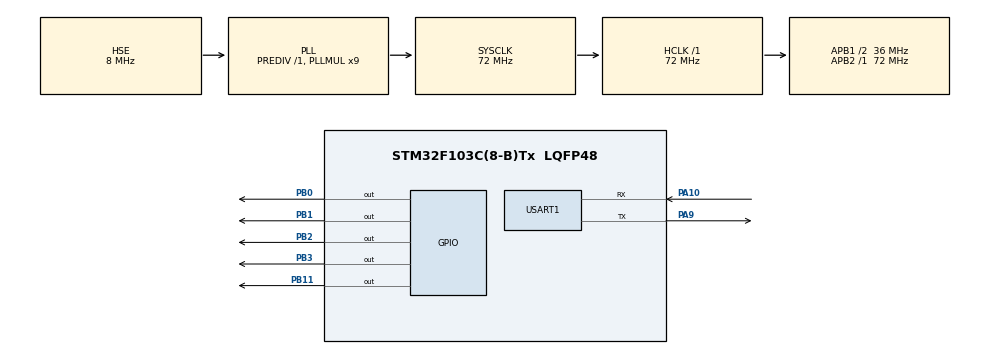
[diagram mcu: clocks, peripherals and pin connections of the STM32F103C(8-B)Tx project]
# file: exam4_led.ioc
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Mcu.Family=STM32F1
Mcu.Name=STM32F103C(8-B)Tx
Mcu.Package=LQFP48
NVIC.PriorityGroup=NVIC_PRIORITYGROUP_4
NVIC.TIM3_IRQn=true\:0\:0\:false\:false\:true\:true\:true\:true
NVIC.USART1_IRQn=true\:0\:0\:false\:false\:true\:true\:true\:true
PA10.Mode=Asynchronous
PA10.Signal=USART1_RX
PA13.Mode=Serial_Wire
PA13.Signal=SYS_JTMS-SWDIO
PA14.Mode=Serial_Wire
PA14.Signal=SYS_JTCK-SWCLK
PA9.Mode=Asynchronous
PA9.Signal=USART1_TX
PB0.Signal=GPIO_Output
PB1.Signal=GPIO_Output
PB11.Signal=GPIO_Output
PB2.Signal=GPIO_Output
PB3.Signal=GPIO_Output
PD0-OSC_IN.Mode=HSE-External-Oscillator
PD0-OSC_IN.Signal=RCC_OSC_IN
PD1-OSC_OUT.Mode=HSE-External-Oscillator
PD1-OSC_OUT.Signal=RCC_OSC_OUT
ProjectManager.HeapSize=0x200
ProjectManager.StackSize=0x400
ProjectManager.TargetToolchain=MDK-ARM V5.32
RCC.AHBFreq_Value=72000000
RCC.APB1CLKDivider=RCC_HCLK_DIV2
RCC.APB1Freq_Value=36000000
RCC.APB1TimFreq_Value=72000000
RCC.APB2Freq_Value=72000000
RCC.APB2TimFreq_Value=72000000
RCC.HCLKFreq_Value=72000000
RCC.PLLMUL=RCC_PLL_MUL9
RCC.PLLSourceVirtual=RCC_PLLSOURCE_HSE
RCC.SYSCLKFreq_VALUE=72000000
RCC.SYSCLKSource=RCC_SYSCLKSOURCE_PLLCLK
RCC.USBFreq_Value=72000000
TIM3.Period=999
TIM3.Prescaler=71
USART1.VirtualMode=VM_ASYNC
VP_TIM3_VS_ClockSourceINT.Mode=Internal
board=custom

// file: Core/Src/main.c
/* USER CODE BEGIN Header */
/**
  ******************************************************************************
  * @file           : main.c
  * @brief          : Main program body
  ******************************************************************************
  * @attention
  *
  * Copyright (c) 2026 STMicroelectronics.
  * All rights reserved.
  *
  * This software is licensed under terms that can be found in the LICENSE file
  * in the root directory of this software component.
  * If no LICENSE file comes with this software, it is provided AS-IS.
  *
  ******************************************************************************
  */
/* USER CODE END Header */
#include "main.h"

/* USER CODE BEGIN Includes */
#include <string.h>
#include <stdio.h>
#include <stdlib.h>
/* USER CODE END Includes */

/* USER CODE BEGIN PD */
#define LED_NUM  4   // LED数量
// 4个LED对应的引脚（顺序：LED1→LED4）
static const uint16_t led_pins[LED_NUM] = {GPIO_PIN_0, GPIO_PIN_1, GPIO_PIN_3, GPIO_PIN_11};
/* USER CODE END PD */

TIM_HandleTypeDef htim3;

UART_HandleTypeDef huart1;

/* USER CODE BEGIN PV */
// ===== 系统状态 =====
uint8_t  current_mode = 1;     // 当前模式：1=流水 2=闪烁 3=呼吸
uint16_t speed_ms = 500;       // 速度（ms），默认500

// ===== 串口接收 =====
uint8_t  rx_byte;              // 每次中断收到的1个字节
char     rx_buf[64];           // 接收缓冲区
uint8_t  rx_idx = 0;           // 缓冲区当前位置

// ===== TIM3时基跑灯 =====
uint16_t tick_1ms = 0;         // 1ms计数器，到速度值就翻转
uint8_t  cur_led = 0;          // 模式1：当前点亮的是第几个LED
uint8_t  led_on = 1;           // 模式2：当前LED是亮还是灭
int16_t  breathe_val = 0;      // 模式3：呼吸亮度值 0~999
int8_t   breathe_dir = 1;       // 模式3：呼吸方向 1=渐亮 -1=渐暗
uint8_t  breathe_step = 0;      // 模式3：呼吸步长计数器
/* USER CODE END PV */

void SystemClock_Config(void);
static void MX_GPIO_Init(void);
static void MX_TIM3_Init(void);
static void MX_USART1_UART_Init(void);
/* USER CODE BEGIN PFP */
void process_command(char *cmd);   // 指令解析函数
void led_all(uint8_t on);           // 全部LED亮/灭
void led_set(uint8_t index, uint8_t on); // 指定LED亮/灭
/* USER CODE END PFP */

/* USER CODE BEGIN 0 */

// ===== 全部LED控制 =====
void led_all(uint8_t on)
{
    for (uint8_t i = 0; i < LED_NUM; i++)
    {
        HAL_GPIO_WritePin(GPIOB, led_pins[i], on ? GPIO_PIN_SET : GPIO_PIN_RESET);
    }
}

// ===== 指定LED控制 =====
void led_set(uint8_t index, uint8_t on)
{
    if (index < LED_NUM)
    {
        HAL_GPIO_WritePin(GPIOB, led_pins[index], on ? GPIO_PIN_SET : GPIO_PIN_RESET);
    }
}

// ===== 串口接收完成回调（每收到1字节触发） =====
void HAL_UART_RxCpltCallback(UART_HandleTypeDef *huart)
{
    if (huart->Instance == USART1)
    {
        if (rx_byte == '\n' || rx_byte == '\r')
        {
            if (rx_idx > 0)
            {
                rx_buf[rx_idx] = '\0';  // 加结束符
                process_command(rx_buf); // 解析指令
                rx_idx = 0;             // 清空缓冲区
            }
        }
        else
        {
            if (rx_idx < sizeof(rx_buf) - 1)
            {
                rx_buf[rx_idx++] = rx_byte;
            }
            else
            {
                rx_idx = 0;  // 溢出，清空
            }
        }
        // 继续接收下一个字节
        HAL_UART_Receive_IT(&huart1, &rx_byte, 1);
    }
}

// ===== 指令解析 =====
void process_command(char *cmd)
{
    if (strncmp(cmd, "mode:", 5) == 0)
    {
        uint8_t mode = atoi(cmd + 5);
        if (mode >= 1 && mode <= 3)
        {
            current_mode = mode;
            HAL_UART_Transmit(&huart1, (uint8_t*)"Mode changed\r\n", 14, 100);
        }
        else
        {
            HAL_UART_Transmit(&huart1, (uint8_t*)"Error: mode 1-3 only\r\n", 22, 100);
        }
    }
    else if (strncmp(cmd, "speed:", 6) == 0)
    {
        uint16_t speed = atoi(cmd + 6);
        if (speed >= 100 && speed <= 2000)
        {
            speed_ms = speed;
            HAL_UART_Transmit(&huart1, (uint8_t*)"Speed changed\r\n", 16, 100);
        }
        else
        {
            HAL_UART_Transmit(&huart1, (uint8_t*)"Error: speed 100-2000ms\r\n", 26, 100);
        }
    }
    else if (strncmp(cmd, "status", 6) == 0)
    {
        char buf[64];
        int len = sprintf(buf, "Mode:%d, Speed:%dms\r\n", current_mode, speed_ms);
        HAL_UART_Transmit(&huart1, (uint8_t*)buf, len, 100);
    }
    else
    {
        HAL_UART_Transmit(&huart1, (uint8_t*)"Unknown command\r\n", 18, 100);
    }
}

// ===== TIM3中断回调（每1ms触发） =====
void HAL_TIM_PeriodElapsedCallback(TIM_HandleTypeDef *htim)
{
    if (htim->Instance == TIM3)
    {
        tick_1ms++;

        if (current_mode == 1)  // 流水灯
        {
            if (tick_1ms >= speed_ms)
            {
                tick_1ms = 0;
                led_all(0);           // 全部灭
                led_set(cur_led, 1);  // 只亮当前
                cur_led = (cur_led + 1) % LED_NUM;
            }
        }
        else if (current_mode == 2)  // 闪烁灯
        {
            if (tick_1ms >= speed_ms)
            {
                tick_1ms = 0;
                led_all(led_on);      // 全部亮或灭
                led_on = !led_on;
            }
        }
        else if (current_mode == 3)  // 呼吸灯（简化版）
        {
            // 呼吸灯暂时用TIM3翻转模拟，后面再优化
            if (tick_1ms >= speed_ms / 10)
            {
                tick_1ms = 0;
                breathe_step++;
                if (breathe_step >= 10)
                {
                    breathe_step = 0;
                    breathe_dir = -breathe_dir;
                }
                // 简化：0步全灭，10步全亮
                led_all(breathe_dir > 0 ? (breathe_step >= 5) : (breathe_step < 5));
            }
        }
    }
}

/* USER CODE END 0 */

int main(void)
{

  /* MCU Configuration--------------------------------------------------------*/

  /* Reset of all peripherals, Initializes the Flash interface and the Systick. */
  HAL_Init();

  /* Configure the system clock */
  SystemClock_Config();

  /* Initialize all configured peripherals */
  MX_GPIO_Init();
  MX_TIM3_Init();
  MX_USART1_UART_Init();
  /* USER CODE BEGIN 2 */
  // 启动TIM3中断
  HAL_TIM_Base_Start_IT(&htim3);
  // 启动串口接收中断
  HAL_UART_Receive_IT(&huart1, &rx_byte, 1);
  // 开机打印欢迎信息
  HAL_UART_Transmit(&huart1, (uint8_t*)"===== LED Control =====\r\n", 26, 100);
  HAL_UART_Transmit(&huart1, (uint8_t*)"mode:1/2/3, speed:XXX, status\r\n", 34, 100);
  /* USER CODE END 2 */

  /* Infinite loop */
  while (1)
  {

  }
}

void SystemClock_Config(void)
{
  RCC_OscInitTypeDef RCC_OscInitStruct = {0};
  RCC_ClkInitTypeDef RCC_ClkInitStruct = {0};

  /** Initializes the RCC Oscillators according to the specified parameters
  * in the RCC_OscInitTypeDef structure.
  */
  RCC_OscInitStruct.OscillatorType = RCC_OSCILLATORTYPE_HSE;
  RCC_OscInitStruct.HSEState = RCC_HSE_ON;
  RCC_OscInitStruct.HSEPredivValue = RCC_HSE_PREDIV_DIV1;
  RCC_OscInitStruct.HSIState = RCC_HSI_ON;
  RCC_OscInitStruct.PLL.PLLState = RCC_PLL_ON;
  RCC_OscInitStruct.PLL.PLLSource = RCC_PLLSOURCE_HSE;
  RCC_OscInitStruct.PLL.PLLMUL = RCC_PLL_MUL9;
  if (HAL_RCC_OscConfig(&RCC_OscInitStruct) != HAL_OK)
  {
    Error_Handler();
  }

  /** Initializes the CPU, AHB and APB buses clocks
  */
  RCC_ClkInitStruct.ClockType = RCC_CLOCKTYPE_HCLK|RCC_CLOCKTYPE_SYSCLK
                              |RCC_CLOCKTYPE_PCLK1|RCC_CLOCKTYPE_PCLK2;
  RCC_ClkInitStruct.SYSCLKSource = RCC_SYSCLKSOURCE_PLLCLK;
  RCC_ClkInitStruct.AHBCLKDivider = RCC_SYSCLK_DIV1;
  RCC_ClkInitStruct.APB1CLKDivider = RCC_HCLK_DIV2;
  RCC_ClkInitStruct.APB2CLKDivider = RCC_HCLK_DIV1;

  if (HAL_RCC_ClockConfig(&RCC_ClkInitStruct, FLASH_LATENCY_2) != HAL_OK)
  {
    Error_Handler();
  }
}

static void MX_TIM3_Init(void)
{

  TIM_ClockConfigTypeDef sClockSourceConfig = {0};
  TIM_MasterConfigTypeDef sMasterConfig = {0};

  htim3.Instance = TIM3;
  htim3.Init.Prescaler = 72-1;
  htim3.Init.CounterMode = TIM_COUNTERMODE_UP;
  htim3.Init.Period = 1000-1;
  htim3.Init.ClockDivision = TIM_CLOCKDIVISION_DIV1;
  htim3.Init.AutoReloadPreload = TIM_AUTORELOAD_PRELOAD_DISABLE;
  if (HAL_TIM_Base_Init(&htim3) != HAL_OK)
  {
    Error_Handler();
  }
  sClockSourceConfig.ClockSource = TIM_CLOCKSOURCE_INTERNAL;
  if (HAL_TIM_ConfigClockSource(&htim3, &sClockSourceConfig) != HAL_OK)
  {
    Error_Handler();
  }
  sMasterConfig.MasterOutputTrigger = TIM_TRGO_RESET;
  sMasterConfig.MasterSlaveMode = TIM_MASTERSLAVEMODE_DISABLE;
  if (HAL_TIMEx_MasterConfigSynchronization(&htim3, &sMasterConfig) != HAL_OK)
  {
    Error_Handler();
  }
}

static void MX_USART1_UART_Init(void)
{

  huart1.Instance = USART1;
  huart1.Init.BaudRate = 115200;
  huart1.Init.WordLength = UART_WORDLENGTH_8B;
  huart1.Init.StopBits = UART_STOPBITS_1;
  huart1.Init.Parity = UART_PARITY_NONE;
  huart1.Init.Mode = UART_MODE_TX_RX;
  huart1.Init.HwFlowCtl = UART_HWCONTROL_NONE;
  huart1.Init.OverSampling = UART_OVERSAMPLING_16;
  if (HAL_UART_Init(&huart1) != HAL_OK)
  {
    Error_Handler();
  }
}

static void MX_GPIO_Init(void)
{
  GPIO_InitTypeDef GPIO_InitStruct = {0};

  /* GPIO Ports Clock Enable */
  __HAL_RCC_GPIOD_CLK_ENABLE();
  __HAL_RCC_GPIOB_CLK_ENABLE();
  __HAL_RCC_GPIOA_CLK_ENABLE();

  /*Configure GPIO pin Output Level */
  HAL_GPIO_WritePin(GPIOB, GPIO_PIN_0|GPIO_PIN_1|GPIO_PIN_3|GPIO_PIN_11, GPIO_PIN_RESET);

  /*Configure GPIO pins : PB0 PB1 PB3 PB11 */
  GPIO_InitStruct.Pin = GPIO_PIN_0|GPIO_PIN_1|GPIO_PIN_3|GPIO_PIN_11;
  GPIO_InitStruct.Mode = GPIO_MODE_OUTPUT_PP;
  GPIO_InitStruct.Pull = GPIO_NOPULL;
  GPIO_InitStruct.Speed = GPIO_SPEED_FREQ_LOW;
  HAL_GPIO_Init(GPIOB, &GPIO_InitStruct);
}

void Error_Handler(void)
{
  __disable_irq();
  while (1)
  {
  }
}
